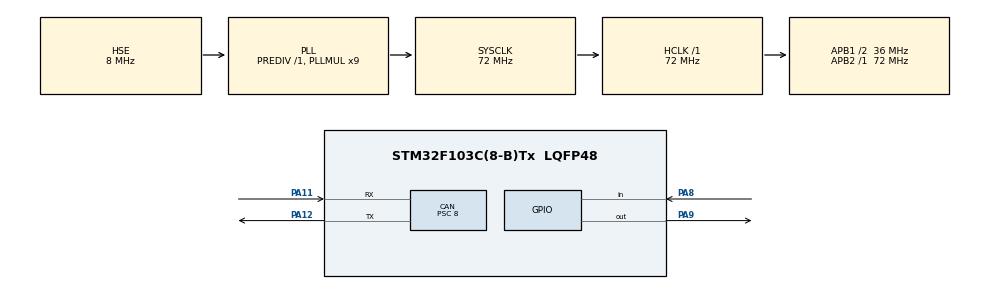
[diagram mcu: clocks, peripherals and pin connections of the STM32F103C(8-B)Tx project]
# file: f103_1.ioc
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CAN.BS1=CAN_BS1_15TQ
CAN.BS2=CAN_BS2_2TQ
CAN.CalculateBaudRate=250000
CAN.CalculateTimeBit=4000
CAN.CalculateTimeQuantum=222.22222222222223
CAN.Mode=CAN_MODE_NORMAL
CAN.Prescaler=8
Mcu.Family=STM32F1
Mcu.Name=STM32F103C(8-B)Tx
Mcu.Package=LQFP48
NVIC.CAN1_RX1_IRQn=true\:0\:0\:false\:false\:true\:true\:true\:true
NVIC.CAN1_SCE_IRQn=true\:0\:0\:false\:false\:true\:true\:true\:true
NVIC.PriorityGroup=NVIC_PRIORITYGROUP_4
NVIC.TIM3_IRQn=true\:0\:0\:false\:false\:true\:true\:true\:true
NVIC.USB_HP_CAN1_TX_IRQn=true\:0\:0\:false\:false\:true\:true\:true\:true
NVIC.USB_LP_CAN1_RX0_IRQn=true\:0\:0\:false\:false\:true\:true\:true\:true
PA11.Mode=CAN_Activate
PA11.Signal=CAN_RX
PA12.Mode=CAN_Activate
PA12.Signal=CAN_TX
PA13.Mode=Serial_Wire
PA13.Signal=SYS_JTMS-SWDIO
PA14.Mode=Serial_Wire
PA14.Signal=SYS_JTCK-SWCLK
PA8.Signal=GPIO_Input
PA9.Signal=GPIO_Output
PD0-OSC_IN.Mode=HSE-External-Oscillator
PD0-OSC_IN.Signal=RCC_OSC_IN
PD1-OSC_OUT.Mode=HSE-External-Oscillator
PD1-OSC_OUT.Signal=RCC_OSC_OUT
ProjectManager.HeapSize=0x200
ProjectManager.StackSize=0x400
ProjectManager.TargetToolchain=STM32CubeIDE
RCC.ADCPresc=RCC_ADCPCLK2_DIV6
RCC.AHBFreq_Value=72000000
RCC.APB1CLKDivider=RCC_HCLK_DIV2
RCC.APB1Freq_Value=36000000
RCC.APB1TimFreq_Value=72000000
RCC.APB2Freq_Value=72000000
RCC.APB2TimFreq_Value=72000000
RCC.HCLKFreq_Value=72000000
RCC.PLLMUL=RCC_PLL_MUL9
RCC.PLLSourceVirtual=RCC_PLLSOURCE_HSE
RCC.SYSCLKFreq_VALUE=72000000
RCC.SYSCLKSource=RCC_SYSCLKSOURCE_PLLCLK
RCC.USBFreq_Value=72000000
TIM1.Prescaler=71
TIM3.AutoReloadPreload=TIM_AUTORELOAD_PRELOAD_ENABLE
TIM3.Period=1000-1
TIM3.Prescaler=35999
VP_TIM1_VS_ClockSourceINT.Mode=Internal
VP_TIM3_VS_ClockSourceINT.Mode=Internal
board=custom

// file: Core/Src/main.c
/* USER CODE BEGIN Header */
/**
  ******************************************************************************
  * @file           : main.c
  * @brief          : Main program body
  ******************************************************************************
  * @attention
  *
  * Copyright (c) 2024 STMicroelectronics.
  * All rights reserved.
  *
  * This software is licensed under terms that can be found in the LICENSE file
  * in the root directory of this software component.
  * If no LICENSE file comes with this software, it is provided AS-IS.
  *
  ******************************************************************************
  */
/* USER CODE END Header */
#include "main.h"

/* USER CODE BEGIN Includes */
#include "string.h"
#include "stdio.h"
/* USER CODE END Includes */

CAN_HandleTypeDef hcan;

TIM_HandleTypeDef htim1;
TIM_HandleTypeDef htim3;

/* USER CODE BEGIN PV */
CAN_TxHeaderTypeDef TxHeader;
CAN_RxHeaderTypeDef RxHeader;

#define TRIG_PIN GPIO_PIN_9
#define TRIG_PORT GPIOA
#define ECHO_PIN GPIO_PIN_8
#define ECHO_PORT GPIOA
uint32_t pMillis;
uint32_t Value1 = 0;
uint32_t Value2 = 0;
uint16_t Distance  = 0;  // cm
/* USER CODE END PV */

void SystemClock_Config(void);
static void MX_GPIO_Init(void);
static void MX_CAN_Init(void);
static void MX_TIM1_Init(void);
static void MX_TIM3_Init(void);
/* USER CODE BEGIN PFP */
//static void CAN1_Tx(void);
static void CAN_Filter_Config(void);
static void sendDistanceMessage(uint32_t StdId);
void HAL_TIM_PeriodElapsedCallback(TIM_HandleTypeDef *htim);
/* USER CODE END PFP */

int main(void)
{

  /* MCU Configuration--------------------------------------------------------*/

  /* Reset of all peripherals, Initializes the Flash interface and the Systick. */
  HAL_Init();

  /* Configure the system clock */
  SystemClock_Config();

  /* Initialize all configured peripherals */
  MX_GPIO_Init();
  MX_CAN_Init();
  MX_TIM1_Init();
  MX_TIM3_Init();
  /* USER CODE BEGIN 2 */
  CAN_Filter_Config();

	if(HAL_CAN_ActivateNotification(&hcan, CAN_IT_RX_FIFO0_MSG_PENDING) != HAL_OK)
	{
	  Error_Handler();
	}

	if( HAL_CAN_Start(&hcan) != HAL_OK)
	{
	  Error_Handler();
	}

	 HAL_TIM_Base_Start(&htim1);
	 HAL_TIM_Base_Start_IT(&htim3);
	 HAL_GPIO_WritePin(TRIG_PORT, TRIG_PIN, GPIO_PIN_RESET);  // pull the TRIG pin low

  /* USER CODE END 2 */

  /* Infinite loop */
  while (1)
  {

  }
}

void SystemClock_Config(void)
{
  RCC_OscInitTypeDef RCC_OscInitStruct = {0};
  RCC_ClkInitTypeDef RCC_ClkInitStruct = {0};

  /** Initializes the RCC Oscillators according to the specified parameters
  * in the RCC_OscInitTypeDef structure.
  */
  RCC_OscInitStruct.OscillatorType = RCC_OSCILLATORTYPE_HSE;
  RCC_OscInitStruct.HSEState = RCC_HSE_ON;
  RCC_OscInitStruct.HSEPredivValue = RCC_HSE_PREDIV_DIV1;
  RCC_OscInitStruct.HSIState = RCC_HSI_ON;
  RCC_OscInitStruct.PLL.PLLState = RCC_PLL_ON;
  RCC_OscInitStruct.PLL.PLLSource = RCC_PLLSOURCE_HSE;
  RCC_OscInitStruct.PLL.PLLMUL = RCC_PLL_MUL9;
  if (HAL_RCC_OscConfig(&RCC_OscInitStruct) != HAL_OK)
  {
    Error_Handler();
  }

  /** Initializes the CPU, AHB and APB buses clocks
  */
  RCC_ClkInitStruct.ClockType = RCC_CLOCKTYPE_HCLK|RCC_CLOCKTYPE_SYSCLK
                              |RCC_CLOCKTYPE_PCLK1|RCC_CLOCKTYPE_PCLK2;
  RCC_ClkInitStruct.SYSCLKSource = RCC_SYSCLKSOURCE_PLLCLK;
  RCC_ClkInitStruct.AHBCLKDivider = RCC_SYSCLK_DIV1;
  RCC_ClkInitStruct.APB1CLKDivider = RCC_HCLK_DIV2;
  RCC_ClkInitStruct.APB2CLKDivider = RCC_HCLK_DIV1;

  if (HAL_RCC_ClockConfig(&RCC_ClkInitStruct, FLASH_LATENCY_2) != HAL_OK)
  {
    Error_Handler();
  }
}

static void MX_CAN_Init(void)
{

  hcan.Instance = CAN1;
  hcan.Init.Prescaler = 8;
  hcan.Init.Mode = CAN_MODE_NORMAL;
  hcan.Init.SyncJumpWidth = CAN_SJW_1TQ;
  hcan.Init.TimeSeg1 = CAN_BS1_15TQ;
  hcan.Init.TimeSeg2 = CAN_BS2_2TQ;
  hcan.Init.TimeTriggeredMode = DISABLE;
  hcan.Init.AutoBusOff = DISABLE;
  hcan.Init.AutoWakeUp = DISABLE;
  hcan.Init.AutoRetransmission = DISABLE;
  hcan.Init.ReceiveFifoLocked = DISABLE;
  hcan.Init.TransmitFifoPriority = DISABLE;
  if (HAL_CAN_Init(&hcan) != HAL_OK)
  {
    Error_Handler();
  }

}

static void MX_TIM1_Init(void)
{

  TIM_ClockConfigTypeDef sClockSourceConfig = {0};
  TIM_MasterConfigTypeDef sMasterConfig = {0};

  htim1.Instance = TIM1;
  htim1.Init.Prescaler = 71;
  htim1.Init.CounterMode = TIM_COUNTERMODE_UP;
  htim1.Init.Period = 65535;
  htim1.Init.ClockDivision = TIM_CLOCKDIVISION_DIV1;
  htim1.Init.RepetitionCounter = 0;
  htim1.Init.AutoReloadPreload = TIM_AUTORELOAD_PRELOAD_DISABLE;
  if (HAL_TIM_Base_Init(&htim1) != HAL_OK)
  {
    Error_Handler();
  }
  sClockSourceConfig.ClockSource = TIM_CLOCKSOURCE_INTERNAL;
  if (HAL_TIM_ConfigClockSource(&htim1, &sClockSourceConfig) != HAL_OK)
  {
    Error_Handler();
  }
  sMasterConfig.MasterOutputTrigger = TIM_TRGO_RESET;
  sMasterConfig.MasterSlaveMode = TIM_MASTERSLAVEMODE_DISABLE;
  if (HAL_TIMEx_MasterConfigSynchronization(&htim1, &sMasterConfig) != HAL_OK)
  {
    Error_Handler();
  }

}

static void MX_TIM3_Init(void)
{

  TIM_ClockConfigTypeDef sClockSourceConfig = {0};
  TIM_MasterConfigTypeDef sMasterConfig = {0};

  htim3.Instance = TIM3;
  htim3.Init.Prescaler = 35999;
  htim3.Init.CounterMode = TIM_COUNTERMODE_UP;
  htim3.Init.Period = 1000-1;
  htim3.Init.ClockDivision = TIM_CLOCKDIVISION_DIV1;
  htim3.Init.AutoReloadPreload = TIM_AUTORELOAD_PRELOAD_ENABLE;
  if (HAL_TIM_Base_Init(&htim3) != HAL_OK)
  {
    Error_Handler();
  }
  sClockSourceConfig.ClockSource = TIM_CLOCKSOURCE_INTERNAL;
  if (HAL_TIM_ConfigClockSource(&htim3, &sClockSourceConfig) != HAL_OK)
  {
    Error_Handler();
  }
  sMasterConfig.MasterOutputTrigger = TIM_TRGO_RESET;
  sMasterConfig.MasterSlaveMode = TIM_MASTERSLAVEMODE_DISABLE;
  if (HAL_TIMEx_MasterConfigSynchronization(&htim3, &sMasterConfig) != HAL_OK)
  {
    Error_Handler();
  }

}

static void MX_GPIO_Init(void)
{
  GPIO_InitTypeDef GPIO_InitStruct = {0};

  /* GPIO Ports Clock Enable */
  __HAL_RCC_GPIOD_CLK_ENABLE();
  __HAL_RCC_GPIOA_CLK_ENABLE();

  /*Configure GPIO pin Output Level */
  HAL_GPIO_WritePin(GPIOA, GPIO_PIN_9, GPIO_PIN_RESET);

  /*Configure GPIO pin : PA8 */
  GPIO_InitStruct.Pin = GPIO_PIN_8;
  GPIO_InitStruct.Mode = GPIO_MODE_INPUT;
  GPIO_InitStruct.Pull = GPIO_NOPULL;
  HAL_GPIO_Init(GPIOA, &GPIO_InitStruct);

  /*Configure GPIO pin : PA9 */
  GPIO_InitStruct.Pin = GPIO_PIN_9;
  GPIO_InitStruct.Mode = GPIO_MODE_OUTPUT_PP;
  GPIO_InitStruct.Pull = GPIO_NOPULL;
  GPIO_InitStruct.Speed = GPIO_SPEED_FREQ_LOW;
  HAL_GPIO_Init(GPIOA, &GPIO_InitStruct);

}

/* USER CODE BEGIN 4 */
/*
static void CAN1_Tx(void){

	uint32_t TxMailbox;

	uint8_t msg[5] = {'H','E','L','L','O'};

	TxHeader.DLC = 5;
	TxHeader.StdId = 0x650;
	TxHeader.IDE   = CAN_ID_STD;
	TxHeader.RTR = CAN_RTR_DATA;

	if( HAL_CAN_AddTxMessage(&hcan,&TxHeader,msg,&TxMailbox) != HAL_OK)
	{
		Error_Handler();
	}
}
*/

static void CAN_Filter_Config(void)
{
	CAN_FilterTypeDef can1_filter_init;

	can1_filter_init.FilterActivation = ENABLE;
	can1_filter_init.FilterBank  = 0;
	can1_filter_init.FilterFIFOAssignment = CAN_RX_FIFO0;
	can1_filter_init.FilterIdHigh = 0x0000;
	can1_filter_init.FilterIdLow = 0x0000;
	can1_filter_init.FilterMaskIdHigh = 0x0000;
	can1_filter_init.FilterMaskIdLow = 0x0000;
	can1_filter_init.FilterMode = CAN_FILTERMODE_IDMASK;
	can1_filter_init.FilterScale = CAN_FILTERSCALE_32BIT;

	if( HAL_CAN_ConfigFilter(&hcan,&can1_filter_init) != HAL_OK)
	{
		Error_Handler();
	}
}

void HAL_CAN_TxMailbox0CompleteCallback(CAN_HandleTypeDef *hcan)
{

}

void HAL_CAN_TxMailbox1CompleteCallback(CAN_HandleTypeDef *hcan)
{

}

void HAL_CAN_TxMailbox2CompleteCallback(CAN_HandleTypeDef *hcan)
{

}

void HAL_CAN_RxFifo0MsgPendingCallback(CAN_HandleTypeDef *hcan)
{

}

void HAL_TIM_PeriodElapsedCallback(TIM_HandleTypeDef *htim) {
	if (htim->Instance == TIM3) {
		uint32_t stdId = 0x651;
		sendDistanceMessage(stdId);
	}
}

static void sendDistanceMessage(uint32_t StdId){
	CAN_TxHeaderTypeDef TxHeader;
	uint32_t TxMailbox;

	HAL_GPIO_WritePin(TRIG_PORT, TRIG_PIN, GPIO_PIN_SET);  // pull the TRIG pin HIGH
	__HAL_TIM_SET_COUNTER(&htim1, 0);
	while (__HAL_TIM_GET_COUNTER (&htim1) < 10);  // wait for 10 us
	HAL_GPIO_WritePin(TRIG_PORT, TRIG_PIN, GPIO_PIN_RESET);  // pull the TRIG pin low

	pMillis = HAL_GetTick(); // used this to avoid infinite while loop  (for timeout)
	// wait for the echo pin to go high
	while (!(HAL_GPIO_ReadPin (ECHO_PORT, ECHO_PIN)) && pMillis + 10 >  HAL_GetTick());
	Value1 = __HAL_TIM_GET_COUNTER (&htim1);

	pMillis = HAL_GetTick(); // used this to avoid infinite while loop (for timeout)
	// wait for the echo pin to go low
	while ((HAL_GPIO_ReadPin (ECHO_PORT, ECHO_PIN)) && pMillis + 50 > HAL_GetTick());
	Value2 = __HAL_TIM_GET_COUNTER (&htim1);

	Distance = (Value2-Value1)* 0.034/2;

	uint8_t distance[2] = {(Distance & 0xFF00)>>8 , Distance & 0x00FF};

	TxHeader.DLC = 2;
	TxHeader.StdId = StdId;
	TxHeader.IDE   = CAN_ID_STD;
	TxHeader.RTR = CAN_RTR_DATA;

	if( HAL_CAN_AddTxMessage(&hcan,&TxHeader,distance,&TxMailbox) != HAL_OK)
	{
		Error_Handler();
	}

}

void HAL_CAN_ErrorCallback(CAN_HandleTypeDef *hcan)
{

}

/* USER CODE END 4 */

void Error_Handler(void)
{
  __disable_irq();
  while (1)
  {
  }
}
